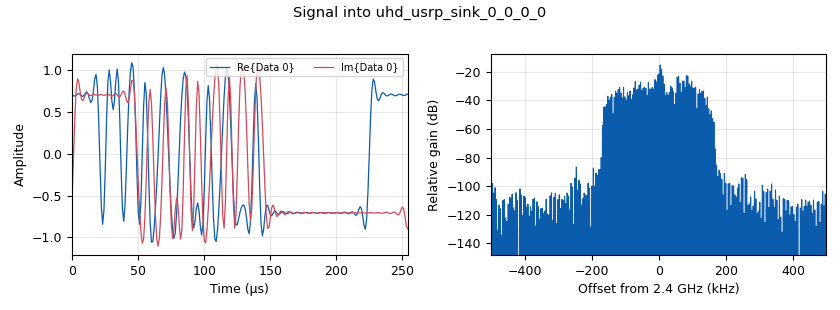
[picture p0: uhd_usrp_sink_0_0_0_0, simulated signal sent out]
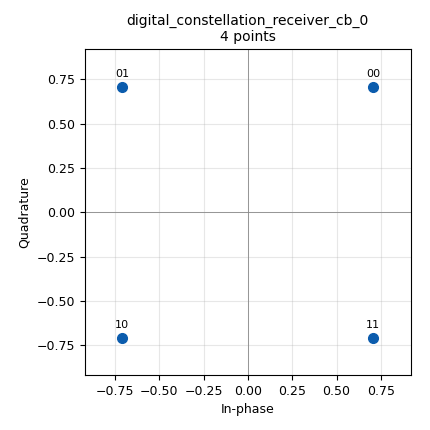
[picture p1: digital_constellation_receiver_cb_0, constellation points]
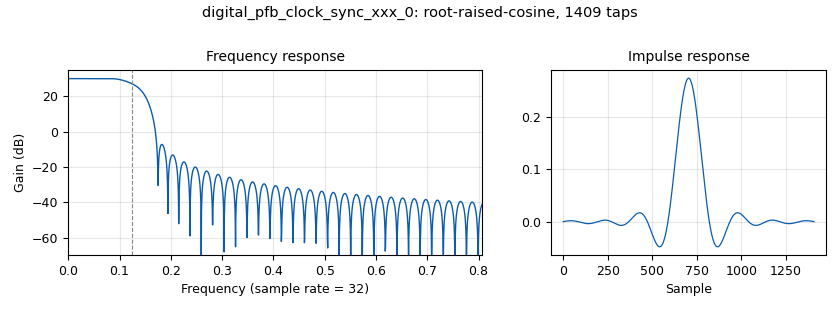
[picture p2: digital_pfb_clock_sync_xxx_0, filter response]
options:
  parameters:
    author: iar
    generate_options: qt_gui
    id: QPSK_simulation_3TX
    output_language: python
    title: QPSK Simulation 3TX
  states: {}

blocks:
- name: arity
  id: variable
  parameters:
    value: '4'
  states: {}
- name: centerfreq
  id: variable
  parameters:
    value: 2.4e9
  states: {}
- name: data
  id: variable
  parameters:
    value: '[0]*4+[1,0,1,0]'
  states: {}
- name: excess_bw
  id: variable
  parameters:
    value: '0.35'
  states: {}
- name: freq_off
  id: variable_qtgui_range
  parameters:
    gui_hint: 1,0,1,1
    label: Freq. Off.
    start: '-0.25'
    step: '0.0001'
    stop: '0.25'
    value: '0'
  states: {}
- name: nfilts
  id: variable
  parameters:
    value: '32'
  states: {}
- name: noise
  id: variable_qtgui_range
  parameters:
    gui_hint: 0,1,1,1
    label: Noise Power
    start: '-50'
    step: '1'
    stop: '10'
    value: '-30'
  states: {}
- name: path_loss
  id: variable_qtgui_range
  parameters:
    gui_hint: 0,0,1,1
    label: Path Loss (dB)
    start: '0'
    step: '5'
    stop: '140'
    value: '30'
  states: {}
- name: phase_bw
  id: variable_qtgui_range
  parameters:
    label: 'Phase: Bandwidth'
    start: '0.0'
    step: '0.01'
    stop: '1.0'
    value: 6.28/100.0
    widget: slider
  states: {}
- name: preamble
  id: variable
  parameters:
    value: '[0x70, 0x72, 0x65, 0x61, 0x6D, 0x62, 0x6C, 0x65]'
  states: {}
- name: qpsk
  id: variable_constellation_rect
  parameters:
    const_points: '[0.707+0.707j, -0.707+0.707j, -0.707-0.707j, 0.707-0.707j]'
    imag_sect: '2'
    real_sect: '2'
    rot_sym: '4'
    sym_map: '[0, 1, 2, 3]'
    w_imag_sect: '1'
    w_real_sect: '1'
  states: {}
- name: rrc_taps
  id: variable
  parameters:
    value: firdes.root_raised_cosine(nfilts, nfilts, 1.0/float(sps), 0.35, 11*sps*nfilts)
  states: {}
- name: samp_rate
  id: variable
  parameters:
    value: 1e6
  states: {}
- name: sps
  id: variable
  parameters:
    value: '4'
  states: {}
- name: time_off
  id: variable_qtgui_range
  parameters:
    gui_hint: 1,1,1,1
    label: Time Off.
    start: '0.9999'
    step: '0.00001'
    stop: '1.0001'
    value: '1.0'
  states: {}
- name: timing_loop_bw
  id: variable_qtgui_range
  parameters:
    label: 'Time: BW'
    start: '0.0'
    step: '0.01'
    stop: '0.2'
    value: 6.28/100.0
    widget: slider
  states: {}
- name: variable_adaptive_algorithm
  id: variable_adaptive_algorithm
  parameters:
    cons: qpsk
    modulus: '4'
    step_size: '.0001'
    type: cma
  states: {}
- name: blocks_char_to_float_0
  id: blocks_char_to_float
  parameters:
    scale: '1'
  states: {}
- name: blocks_char_to_float_0_0
  id: blocks_char_to_float
  parameters:
    scale: '1'
  states: {}
- name: blocks_unpack_k_bits_bb_0
  id: blocks_unpack_k_bits_bb
  parameters:
    k: '2'
  states: {}
- name: blocks_unpack_k_bits_bb_0_0
  id: blocks_unpack_k_bits_bb
  parameters:
    k: '8'
  states: {}
- name: blocks_vector_source_x_0_0
  id: blocks_vector_source_x
  parameters:
    comment: 'TX D5: transmitting bit'
    repeat: 'True'
    type: byte
    vector: preamble+data
  states: {state: disabled}
- name: blocks_vector_source_x_0_0_0
  id: blocks_vector_source_x
  parameters:
    comment: 'TX D6: transmitting bit'
    repeat: 'True'
    type: byte
    vector: preamble+data
  states: {state: disabled}
- name: blocks_vector_source_x_0_0_0_0
  id: blocks_vector_source_x
  parameters:
    comment: 'TX D3: transmitting bit'
    repeat: 'True'
    type: byte
    vector: preamble+data
  states: {}
- name: digital_constellation_modulator_0
  id: digital_constellation_modulator
  parameters:
    constellation: qpsk
    differential: 'True'
    excess_bw: excess_bw
    samples_per_symbol: sps
  states: {state: disabled}
- name: digital_constellation_modulator_0_0
  id: digital_constellation_modulator
  parameters:
    constellation: qpsk
    differential: 'True'
    excess_bw: excess_bw
    samples_per_symbol: sps
  states: {state: disabled}
- name: digital_constellation_modulator_0_0_0
  id: digital_constellation_modulator
  parameters:
    constellation: qpsk
    differential: 'True'
    excess_bw: excess_bw
    samples_per_symbol: sps
  states: {}
- name: digital_constellation_receiver_cb_0
  id: digital_constellation_receiver_cb
  parameters:
    constellation: qpsk
    fmax: '0'
    fmin: '0'
    loop_bw: excess_bw
  states: {}
- name: digital_costas_loop_cc_0
  id: digital_costas_loop_cc
  parameters:
    order: arity
    w: phase_bw
  states: {}
- name: digital_diff_decoder_bb_0
  id: digital_diff_decoder_bb
  parameters:
    coding: digital.DIFF_DIFFERENTIAL
    modulus: '4'
  states: {}
- name: digital_linear_equalizer_0
  id: digital_linear_equalizer
  parameters:
    alg: variable_adaptive_algorithm
    num_taps: '15'
    sps: '2'
    training_sequence: preamble
  states: {}
- name: digital_map_bb_0
  id: digital_map_bb
  parameters:
    map: '[0,1,2,3]'
  states: {}
- name: digital_pfb_clock_sync_xxx_0
  id: digital_pfb_clock_sync_xxx
  parameters:
    filter_size: nfilts
    init_phase: nfilts/2
    loop_bw: timing_loop_bw
    max_dev: '1.5'
    osps: '2'
    sps: sps
    taps: rrc_taps
    type: ccf
  states: {}
- name: import_0
  id: import
  parameters:
    imports: import math
  states: {}
- name: note_0
  id: note
  parameters:
    comment: |-
      The CMA equalizer has been
      replaced by a Linear Equalizer
      and an Adaptive Algorithm for
      version 3.9
    note: CMA equalizer replaced
  states: {}
- name: qtgui_const_sink_x_0
  id: qtgui_const_sink_x
  parameters:
    name: '"D5 constellation after processing"'
    size: '1024'
    type: complex
  states: {}
- name: qtgui_freq_sink_x_0
  id: qtgui_freq_sink_x
  parameters:
    bw: samp_rate
    fc: '0'
    fftsize: '1024'
    type: complex
  states: {}
- name: qtgui_time_sink_x_0
  id: qtgui_time_sink_x
  parameters:
    ctrlpanel: 'True'
    marker1: '0'
    marker2: '0'
    nconnections: '2'
    size: '1024'
    srate: samp_rate
    stemplot: 'True'
    type: float
  states: {}
- name: uhd_usrp_sink_0_0
  id: uhd_usrp_sink
  parameters:
    ant0: '"TX/RX"'
    bw0: 22e6
    center_freq0: centerfreq
    dev_addr: '"addr = 192.168.10.5"'
    gain0: '1'
    gain_type0: normalized
    samp_rate: samp_rate
    sync: pc_clock
    type: fc32
  states: {state: disabled}
- name: uhd_usrp_sink_0_0_0
  id: uhd_usrp_sink
  parameters:
    ant0: '"TX/RX"'
    bw0: 22e6
    center_freq0: centerfreq
    dev_addr: '"addr = 192.168.10.8"'
    gain0: '1'
    gain_type0: normalized
    samp_rate: samp_rate
    sync: pc_clock
    type: fc32
  states: {state: disabled}
- name: uhd_usrp_sink_0_0_0_0
  id: uhd_usrp_sink
  parameters:
    ant0: '"TX/RX"'
    bw0: 22e6
    center_freq0: centerfreq
    dev_addr: '"addr = 192.168.10.7"'
    gain0: '1'
    gain_type0: normalized
    samp_rate: samp_rate
    sync: pc_clock
    type: fc32
  states: {}
- name: uhd_usrp_source_0
  id: uhd_usrp_source
  parameters:
    ant0: '"RX2"'
    bw0: 22e6
    center_freq0: centerfreq
    comment: 'RX D4: Receiving bit'
    dev_addr: '"addr = 192.168.10.3"'
    gain0: '1'
    gain_type0: normalized
    samp_rate: samp_rate
    sync: pc_clock
    type: fc32
  states: {}

connections:
- [blocks_char_to_float_0, '0', qtgui_time_sink_x_0, '0']
- [blocks_char_to_float_0_0, '0', qtgui_time_sink_x_0, '1']
- [blocks_unpack_k_bits_bb_0, '0', blocks_char_to_float_0, '0']
- [blocks_unpack_k_bits_bb_0_0, '0', blocks_char_to_float_0_0, '0']
- [blocks_vector_source_x_0_0, '0', digital_constellation_modulator_0, '0']
- [blocks_vector_source_x_0_0_0, '0', digital_constellation_modulator_0_0, '0']
- [blocks_vector_source_x_0_0_0_0, '0', blocks_unpack_k_bits_bb_0_0, '0']
- [blocks_vector_source_x_0_0_0_0, '0', digital_constellation_modulator_0_0_0, '0']
- [digital_constellation_modulator_0, '0', uhd_usrp_sink_0_0, '0']
- [digital_constellation_modulator_0_0, '0', uhd_usrp_sink_0_0_0, '0']
- [digital_constellation_modulator_0_0_0, '0', uhd_usrp_sink_0_0_0_0, '0']
- [digital_constellation_receiver_cb_0, '0', digital_diff_decoder_bb_0, '0']
- [digital_costas_loop_cc_0, '0', digital_constellation_receiver_cb_0, '0']
- [digital_costas_loop_cc_0, '0', qtgui_const_sink_x_0, '0']
- [digital_costas_loop_cc_0, '0', qtgui_freq_sink_x_0, '0']
- [digital_diff_decoder_bb_0, '0', digital_map_bb_0, '0']
- [digital_linear_equalizer_0, '0', digital_costas_loop_cc_0, '0']
- [digital_map_bb_0, '0', blocks_unpack_k_bits_bb_0, '0']
- [digital_pfb_clock_sync_xxx_0, '0', digital_linear_equalizer_0, '0']
- [uhd_usrp_source_0, '0', digital_pfb_clock_sync_xxx_0, '0']

metadata:
  file_format: 1
  grc_version: 3.10.5.1
